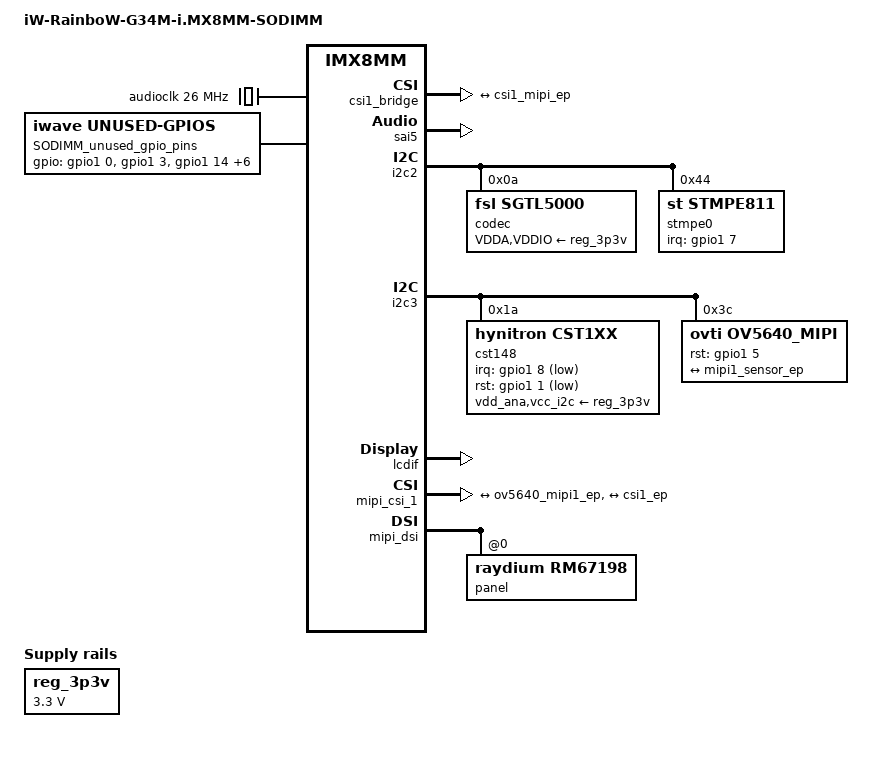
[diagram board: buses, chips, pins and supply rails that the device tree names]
// SPDX-License-Identifier: (GPL-2.0+ OR MIT)
/*
 * Copyright (C) 2022 iWave System Technologies Pvt Ltd.
 *
 * This program is free software; you can redistribute it and/or
 * modify it under the terms of the GNU General Public License
 * as published by the Free Software Foundation; either version 2
 * of the License, or (at your option) any later version.
 *
 * This program is distributed in the hope that it will be useful,
 * but WITHOUT ANY WARRANTY; without even the implied warranty of
 * MERCHANTABILITY or FITNESS FOR A PARTICULAR PURPOSE.  See the
 * GNU General Public License for more details.
 */

/dts-v1/;

#include "imx8mm-iwg34m.dtsi"

/ {
	model = "iW-RainboW-G34M-i.MX8MM-SODIMM";
	compatible = "fsl,imx8mm-iwg34m", "fsl,imx8mm";

	audioclk: ext26Mz { /* SAI5: Clock Configuration */
		compatible = "fixed-clock";
		clock-frequency = <26000000>;
		#clock-cells = <0>;
	};

	SODIMM_unused_gpio_pins: edge_unused_pins { /* GPIO: configuring pins as unused GPIOs */
		compatible = "iwave,unused-gpios";
		pinctrl-names = "default";
		pinctrl-0 = <&pinctrl_unused_gpio>;
		status = "okay";              
	};

	reg_3p3v: 3p3v { /* Fixed Regulator: common 3.3V Fixed regulator */
		compatible = "regulator-fixed";
		regulator-name = "3P3V";
		regulator-min-microvolt = <3300000>;
		regulator-max-microvolt = <3300000>;
		regulator-always-on;
	};

	sound { /* SAI5: SGTL5000: Audio Codec support */
		compatible = "simple-audio-card";
                simple-audio-card,name = "sgtl5000-audio";
                simple-audio-card,format = "i2s";
                simple-audio-card,frame-master = <&codecdai>;
                simple-audio-card,bitclock-master = <&codecdai>;
                simple-audio-card,widgets =
                        "Microphone", "Microphone Jack",
                        "Headphone", "Headphone Jack",
                        "Speaker", "Speaker Ext",
                        "Line", "Line In Jack";
                simple-audio-card,routing =
                        "MIC_IN", "Microphone Jack",
                        "Microphone Jack", "Mic Bias",
                        "LINE_IN", "Line In Jack",
                        "Headphone Jack", "HP_OUT",
                        "Speaker Ext", "LINE_OUT";

		simple-audio-card,cpu {
                       sound-dai = <&sai5>;
                };

                codecdai:simple-audio-card,codec {
                       sound-dai = <&codec>;
                       system-clock-frequency = <26000000>;
                };
	};
};

&csi1_bridge {
	fsl,mipi-mode;
	status = "okay";
	port {
		csi1_ep: endpoint {
			remote-endpoint = <&csi1_mipi_ep>;
		};
	};
};

&sai5 { /* SAI5: Serial Audio Interface for Audio Codec */
	#sound-dai-cells = <0>;
	pinctrl-names = "default";
	pinctrl-0 = <&pinctrl_sai5>;
	assigned-clocks = <&clk IMX8MM_CLK_SAI5>;
	assigned-clock-parents = <&clk IMX8MM_AUDIO_PLL1_OUT>;
	assigned-clock-rates = <49152000>;
	clocks = <&clk IMX8MM_CLK_SAI5_IPG>, <&clk IMX8MM_CLK_DUMMY>,
		<&clk IMX8MM_CLK_SAI5_ROOT>, <&clk IMX8MM_CLK_DUMMY>,
		<&clk IMX8MM_CLK_DUMMY>, <&clk IMX8MM_AUDIO_PLL1_OUT>,
		<&clk IMX8MM_AUDIO_PLL2_OUT>;
	clock-names = "bus", "mclk0", "mclk1", "mclk2", "mclk3", "pll8k", "pll11k";
	status = "okay";
};

&i2c2 { /* I2C: I2C2 Bus */

	codec: sgtl5000@a { /* Audio: SGTL5000 Audio Codec */
		compatible = "fsl,sgtl5000";
		reg = <0x0a>;
		#sound-dai-cells = <0>;
		clocks = <&audioclk 0>;
		VDDA-supply = <&reg_3p3v>;
		VDDIO-supply = <&reg_3p3v>;
		status = "okay";
	};

	stmpe0: stmpe811@44 { /* STMPE811: Carrier Board GPIO Expander */
                compatible = "st,stmpe811";
		reg = <0x44>;
		pinctrl-names = "default";
		pinctrl-0 = <&pinctrl_stmpe>;
		irq-gpio = <&gpio1 7 IRQ_TYPE_EDGE_RISING>;
	
		stmpe_gpio0: stmpe_gpio {
			compatible = "st,stmpe-gpio";
			#gpio-cells = <2>;
			gpio-controller;
		};
	};
};

&i2c3 { /* I2C: I2C3 Bus */

	cst148@1a { /* Touch: Hynitron Touch panel (1080p display) */
		compatible = "hynitron,cst1xx";
		reg = <0x1a>; 
		vdd_ana-supply = <&reg_3p3v>;
		vcc_i2c-supply = <&reg_3p3v>;
		hynitron,panel-coords = <0 1080 0 1920>;
		hynitron,display-coords = <0 1080 0 1920>;
		pinctrl-names = "default";
		pinctrl-0 = <&pinctrl_ts_active>;
		hynitron,irq-gpio = <&gpio1 8 GPIO_ACTIVE_LOW>;
		hynitron,rst-gpio = <&gpio1 1 GPIO_ACTIVE_LOW>;
		status = "okay";
	};

	ov5640_mipi: ov5640_mipi@3c { /* MIPI CSI: OV5640 Camera */
		compatible = "ovti,ov5640_mipi";
		reg = <0x3c>;
		status = "okay";
		pinctrl-names = "default";
		pinctrl-0 = <&pinctrl_csi_rst>;
		clocks = <&clk IMX8MM_CLK_CLKO1>;
		clock-names = "csi_mclk";
		assigned-clocks = <&clk IMX8MM_CLK_CLKO1>;
		assigned-clock-parents = <&clk IMX8MM_CLK_24M>;
		assigned-clock-rates = <24000000>;
		csi_id = <0>;
		rst-gpios = <&gpio1 5 GPIO_ACTIVE_HIGH>;
		mclk = <24000000>;
		mclk_source = <0>;
		port {
			ov5640_mipi1_ep: endpoint {
				remote-endpoint = <&mipi1_sensor_ep>;
			};
		};
	};
};

&lcdif {
	status = "okay";
};

&mipi_csi_1 { /* MIPI CSI: OV5640 MIPI Camera */
	#address-cells = <1>;
	#size-cells = <0>;
	status = "okay";
	port {
		mipi1_sensor_ep: endpoint@1 {
			remote-endpoint = <&ov5640_mipi1_ep>;
			data-lanes = <2>;
			csis-hs-settle = <13>;
			csis-clk-settle = <2>;
			csis-wclk;
		};

		csi1_mipi_ep: endpoint@2 {
			remote-endpoint = <&csi1_ep>;
		};
	};
};

&mipi_dsi { /* MIPI DSI: 1080p MIPI Display */
	status = "okay";

	panel@0 {
		compatible = "raydium,rm67198";
		reg = <0>;
		dsi-lanes = <4>;
		video-mode = <1>;	/* 0: burst mode
					 * 1: non-burst mode with sync event
					 * 2: non-burst mode with sync pulse
					 */
		panel-width-mm = <68>;
		panel-height-mm = <122>;
		status = "okay";
	};
};

&iomuxc {

	imx8mm-iwg34m {

		pinctrl-names = "default";
	        pinctrl-0 = <&pinctrl_expansion>;

		pinctrl_csi_rst: csi_rst_grp { /* MIPI CSI: OV5640 Camera IOMUX Pin Configuration */
			fsl,pins = <
				MX8MM_IOMUXC_GPIO1_IO05_GPIO1_IO5		0x19 /* MIPI OV5640 Camera Reset GPIO */
			>;
		};

		pinctrl_ts_active: tsgrp { /* MIPI DSI: Touch: IOMUX Pin Configuration */
			fsl,pins = <
				MX8MM_IOMUXC_GPIO1_IO01_GPIO1_IO1		0x41 /* Touch Interface Reset GPIO */
				MX8MM_IOMUXC_GPIO1_IO08_GPIO1_IO8		0x41  /* Touch Interface Interrupt GPIO */
			>;
		};

		pinctrl_stmpe: stmpeirq { /* STMPE: IOMUX Pin Configuration */
                        fsl,pins = <
				MX8MM_IOMUXC_GPIO1_IO07_GPIO1_IO7		0x41 /*STMPE Interrupt GPIO*/
                        >;
                };

		pinctrl_sai5: sai5grp { /* SAI5: IOMUX Pin Configuration */
			fsl,pins = <
				MX8MM_IOMUXC_SAI5_MCLK_SAI5_MCLK		0xd6
				MX8MM_IOMUXC_SAI5_RXD2_SAI5_TX_BCLK		0xd6
				MX8MM_IOMUXC_SAI5_RXD1_SAI5_TX_SYNC		0xd6
				MX8MM_IOMUXC_SAI5_RXD3_SAI5_TX_DATA0		0xd6
				MX8MM_IOMUXC_SAI5_RXD0_SAI5_RX_DATA0    	0xd6
			>;
		};

		pinctrl_expansion: expansion_pinsgrp { /* Expansion connector IOMUX configuration */ 
			fsl,pins = <
				MX8MM_IOMUXC_GPIO1_IO06_GPIO1_IO6		0x41 /* SODIMM Edge Pin 71, Expansion J12 Pin 16 */
				MX8MM_IOMUXC_SAI5_RXFS_GPIO3_IO19		0x41 /* SODIMM Edge Pin 92, Expansion J16 Pin 11 */
				MX8MM_IOMUXC_SAI5_RXC_GPIO3_IO20		0x41 /* SODIMM Edge Pin 91, Expansion J16 Pin 10 */
				MX8MM_IOMUXC_SAI1_RXC_GPIO4_IO1			0x41 /* SODIMM Edge Pin 74, Expansion J16 Pin 9 */
				MX8MM_IOMUXC_SAI1_TXC_GPIO4_IO11		0x41 /* SODIMM Edge Pin 157, Expansion J16 Pin 5 */
				MX8MM_IOMUXC_SPDIF_RX_GPIO5_IO4			0x41 /* SODIMM Edge Pin 177, Expansion J12 Pin 7 */
			>;
		};

		pinctrl_unused_gpio: unused_pinsgrp { /* Unused GPIO pins IOMUX Configuration */
			fsl,pins = <
                                MX8MM_IOMUXC_GPIO1_IO00_GPIO1_IO0               0x41
                                MX8MM_IOMUXC_GPIO1_IO03_GPIO1_IO3               0x41
				MX8MM_IOMUXC_GPIO1_IO14_GPIO1_IO14		0x41
                                MX8MM_IOMUXC_SD1_STROBE_GPIO2_IO11              0x41
                                /* GPIO: SAI1 IOMUX Pin Configuration */
                                MX8MM_IOMUXC_SAI1_RXFS_GPIO4_IO0                0x41 /* SODIMM Edge Pin 104, Expansion J7 Pin 18 */
                                MX8MM_IOMUXC_SAI1_TXFS_GPIO4_IO10               0x41 /* SODIMM Edge Pin 143, Expansion J23 Pin 31 */
                                MX8MM_IOMUXC_SAI1_MCLK_GPIO4_IO20               0x41 /* SODIMM Edge Pin 145, Expansion J23 Pin 28 */
                                /* GPIO: SPDIF IOMUX Pin Configuration */
                                MX8MM_IOMUXC_SPDIF_TX_GPIO5_IO3                 0x41 /* SODIMM Edge Pin 178, Expansion U21 Pin 1 */
                                MX8MM_IOMUXC_SPDIF_EXT_CLK_GPIO5_IO5            0x41 /* SODIMM Edge Pin 176, Expansion U21 Pin 4 */
			>;
		};
	};
};

&SODIMM_unused_gpio_pins {  /* GPIO: iWave Unused GPIO pins */
		 gpios = <&gpio1 0 0>,
		         <&gpio1 3 0>,
			 <&gpio1 14 0>,
		 	 <&gpio2 11 0>,
		 	 <&gpio4 0 0>,
		 	 <&gpio4 10 0>,
		 	 <&gpio4 20 0>,
		 	 <&gpio5 3 0>,
		 	 <&gpio5 5 0>;
};
